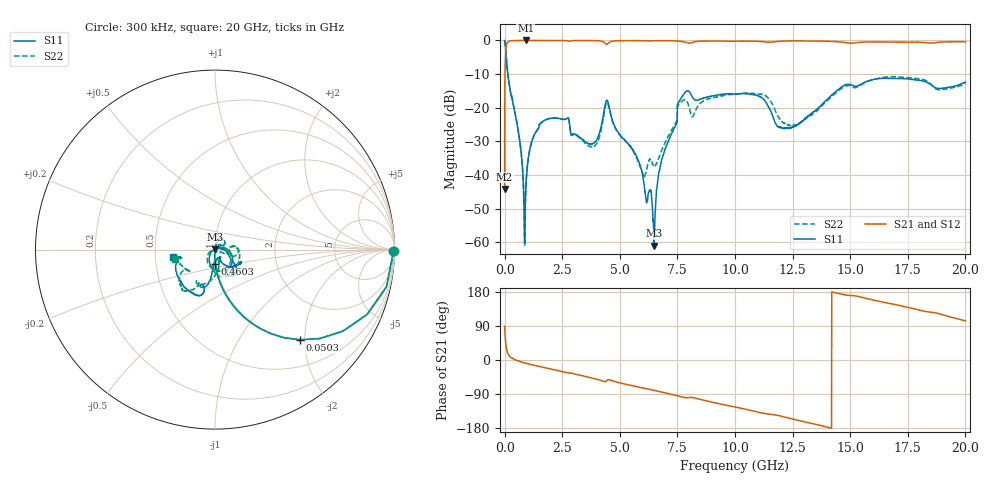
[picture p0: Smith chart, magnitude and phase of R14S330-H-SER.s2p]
!{R14S330}
!Johanson Technology Inc.
!www.johansontechnology.com
!Test Board Conditions:
!Substrate Type  RO4350B
!Substrate Thickness  20 mil
!Substrate Dk  3.66
!TL Type: GCPW
!TL Trace Width  36 mil
!TL Gap  12 mil
!Electrode orientation  Horizontal
!DUT TOPOLOGY	SERIES
!Mounting Pad LxW  26x36 mil
! Created Wed Nov 25 17:33:21 2020
! 2 Port Network Data from SP1.SP block
! freq  magS11  angS11  magS21  angS21  magS12  angS12  magS22  angS22
# khz S ma R 50
! decimated to every 10th point (10 MHz spacing) of the original 1 MHz Johanson file; values unchanged
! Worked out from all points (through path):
!   2001 points, 300 kHz to 20 GHz, reference 50 ohm
!   highest |S21| = 0.00 dB at 920.3 MHz (marker M1); lowest = -44.1 dB at 300 kHz (marker M2)
!   group delay of S21, straight-line fit = 35.9 ps
!   lowest |S11| = -61.0 dB at 6.49 GHz (marker M3), VSWR 1.00, Z = 50 + j0.0824 ohm
!   |S11| at or under -10 dB: 140.4 MHz to end of sweep
!   |S22| runs from -61.1 to 0.0 dB; largest |S21 - S12| = 0.017
!   S11 on the Smith chart (normalised r, x): 300 kHz: open; 50.3 MHz: 0.99, -1.89; 460.3 MHz: 0.99, -0.16; 20 GHz: 0.62, -0.06
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300  0.9933 -0.6  0.006219 88.9  0.006281 89.2  0.9982 -0.6
50300  0.6888 -46.9  0.7218 43.2  0.7236 43.1  0.69 -46.8
130300  0.3397 -71.2  0.9393 18.7  0.9398 18.6  0.3406 -71.2
460300  0.08085 -89.1  0.996 0.7  0.9962 0.7  0.0812 -89.3
820300  0.006344 -88.7  0.9994 -6.8  0.9992 -6.8  0.006681 -103.4
920300  0.006268 71.4  1 -8.4  0.9994 -8.5  0.006225 91.3
1130300  0.02727 74.7  0.999 -11.7  0.9992 -11.7  0.02722 81.4
1600300  0.06043 70.7  0.9969 -18.4  0.9973 -18.5  0.06031 72.0
3340300  0.03456 38.7  0.9967 -41.1  0.9964 -41.1  0.03362 51.8
3970300  0.032 18.7  0.9915 -50.2  0.9919 -50.2  0.02844 37.5
4460300  0.1277 -69.8  0.8806 -53.0  0.8807 -53.0  0.1196 -75.1
6000300  0.009758 -158.6  0.9926 -74.0  0.9929 -74.1  0.01016 -123.8
6490300  0.0008897 112.1  0.991 -80.2  0.9904 -80.1  0.01353 -70.1
6670300  0.009304 32.7  0.9929 -82.6  0.9927 -82.6  0.01733 -41.3
7820300  0.1662 -43.7  0.9422 -99.1  0.9436 -99.0  0.131 -5.6
8160300  0.1433 -61.8  0.9386 -98.8  0.938 -98.8  0.07431 -1.7
1.00003e7  0.1604 -25.2  0.9748 -123.9  0.975 -123.9  0.1583 -49.4
1.12903e7  0.1286 -49.3  0.9498 -141.2  0.9497 -141.1  0.1544 -78.7
1.20303e7  0.05089 -54.7  0.9776 -148.8  0.9791 -148.8  0.06266 -86.4
1.33403e7  0.08379 -95.5  0.9784 -167.6  0.9813 -167.6  0.07809 -73.9
1.66703e7  0.2724 -115.6  0.9464 149.7  0.9392 149.5  0.2902 -127.3
2e7  0.2402 -169.9  0.9513 103.2  0.9515 103.3  0.2279 -166.7
